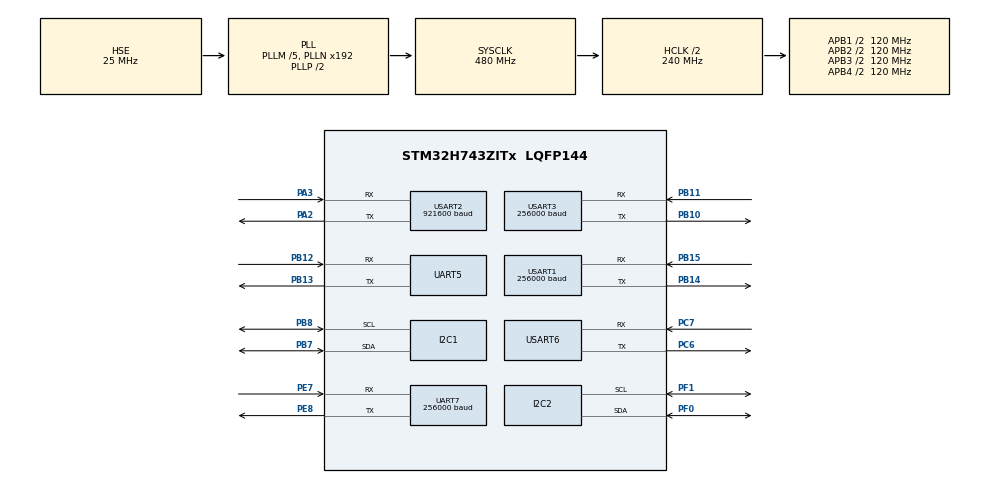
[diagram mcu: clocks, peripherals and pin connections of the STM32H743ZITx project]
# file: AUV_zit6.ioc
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CORTEX_M7.default_mode_Activation=1
Dma.Request0=USART2_RX
Dma.Request1=USART2_TX
Dma.Request2=USART3_TX
Dma.Request3=USART6_RX
Dma.Request4=USART6_TX
Dma.Request5=USART3_RX
Dma.Request6=UART5_RX
Dma.Request7=UART5_TX
Dma.Request8=UART7_RX
Dma.Request9=UART7_TX
Dma.UART5_RX.6.Direction=DMA_PERIPH_TO_MEMORY
Dma.UART5_RX.6.EventEnable=DISABLE
Dma.UART5_RX.6.FIFOMode=DMA_FIFOMODE_DISABLE
Dma.UART5_RX.6.Instance=DMA1_Stream2
Dma.UART5_RX.6.MemDataAlignment=DMA_MDATAALIGN_BYTE
Dma.UART5_RX.6.MemInc=DMA_MINC_ENABLE
Dma.UART5_RX.6.Mode=DMA_NORMAL
Dma.UART5_RX.6.PeriphDataAlignment=DMA_PDATAALIGN_BYTE
Dma.UART5_RX.6.PeriphInc=DMA_PINC_DISABLE
Dma.UART5_RX.6.Polarity=HAL_DMAMUX_REQ_GEN_RISING
Dma.UART5_RX.6.Priority=DMA_PRIORITY_LOW
Dma.UART5_RX.6.RequestNumber=1
Dma.UART5_RX.6.SignalID=NONE
Dma.UART5_RX.6.SyncEnable=DISABLE
Dma.UART5_RX.6.SyncPolarity=HAL_DMAMUX_SYNC_NO_EVENT
Dma.UART5_RX.6.SyncRequestNumber=1
Dma.UART5_RX.6.SyncSignalID=NONE
Dma.UART5_TX.7.Direction=DMA_MEMORY_TO_PERIPH
Dma.UART5_TX.7.EventEnable=DISABLE
Dma.UART5_TX.7.FIFOMode=DMA_FIFOMODE_DISABLE
Dma.UART5_TX.7.Instance=DMA1_Stream3
Dma.UART5_TX.7.MemDataAlignment=DMA_MDATAALIGN_BYTE
Dma.UART5_TX.7.MemInc=DMA_MINC_ENABLE
Dma.UART5_TX.7.Mode=DMA_NORMAL
Dma.UART5_TX.7.PeriphDataAlignment=DMA_PDATAALIGN_BYTE
Dma.UART5_TX.7.PeriphInc=DMA_PINC_DISABLE
Dma.UART5_TX.7.Polarity=HAL_DMAMUX_REQ_GEN_RISING
Dma.UART5_TX.7.Priority=DMA_PRIORITY_LOW
Dma.UART5_TX.7.RequestNumber=1
Dma.UART5_TX.7.SignalID=NONE
Dma.UART5_TX.7.SyncEnable=DISABLE
Dma.UART5_TX.7.SyncPolarity=HAL_DMAMUX_SYNC_NO_EVENT
Dma.UART5_TX.7.SyncRequestNumber=1
Dma.UART5_TX.7.SyncSignalID=NONE
Dma.UART7_RX.8.Direction=DMA_PERIPH_TO_MEMORY
Dma.UART7_RX.8.EventEnable=DISABLE
Dma.UART7_RX.8.FIFOMode=DMA_FIFOMODE_DISABLE
Dma.UART7_RX.8.Instance=DMA2_Stream0
Dma.UART7_RX.8.MemDataAlignment=DMA_MDATAALIGN_BYTE
Dma.UART7_RX.8.MemInc=DMA_MINC_ENABLE
Dma.UART7_RX.8.Mode=DMA_NORMAL
Dma.UART7_RX.8.PeriphDataAlignment=DMA_PDATAALIGN_BYTE
Dma.UART7_RX.8.PeriphInc=DMA_PINC_DISABLE
Dma.UART7_RX.8.Polarity=HAL_DMAMUX_REQ_GEN_RISING
Dma.UART7_RX.8.Priority=DMA_PRIORITY_HIGH
Dma.UART7_RX.8.RequestNumber=1
Dma.UART7_RX.8.SignalID=NONE
Dma.UART7_RX.8.SyncEnable=DISABLE
Dma.UART7_RX.8.SyncPolarity=HAL_DMAMUX_SYNC_NO_EVENT
Dma.UART7_RX.8.SyncRequestNumber=1
Dma.UART7_RX.8.SyncSignalID=NONE
Dma.UART7_TX.9.Direction=DMA_MEMORY_TO_PERIPH
Dma.UART7_TX.9.EventEnable=DISABLE
Dma.UART7_TX.9.FIFOMode=DMA_FIFOMODE_DISABLE
Dma.UART7_TX.9.Instance=DMA2_Stream1
Dma.UART7_TX.9.MemDataAlignment=DMA_MDATAALIGN_BYTE
Dma.UART7_TX.9.MemInc=DMA_MINC_ENABLE
Dma.UART7_TX.9.Mode=DMA_NORMAL
Dma.UART7_TX.9.PeriphDataAlignment=DMA_PDATAALIGN_BYTE
Dma.UART7_TX.9.PeriphInc=DMA_PINC_DISABLE
Dma.UART7_TX.9.Polarity=HAL_DMAMUX_REQ_GEN_RISING
Dma.UART7_TX.9.Priority=DMA_PRIORITY_HIGH
Dma.UART7_TX.9.RequestNumber=1
Dma.UART7_TX.9.SignalID=NONE
Dma.UART7_TX.9.SyncEnable=DISABLE
Dma.UART7_TX.9.SyncPolarity=HAL_DMAMUX_SYNC_NO_EVENT
Dma.UART7_TX.9.SyncRequestNumber=1
Dma.UART7_TX.9.SyncSignalID=NONE
Dma.USART2_RX.0.Direction=DMA_PERIPH_TO_MEMORY
Dma.USART2_RX.0.EventEnable=DISABLE
Dma.USART2_RX.0.FIFOMode=DMA_FIFOMODE_DISABLE
Dma.USART2_RX.0.Instance=DMA1_Stream0
Dma.USART2_RX.0.MemDataAlignment=DMA_MDATAALIGN_BYTE
Dma.USART2_RX.0.MemInc=DMA_MINC_ENABLE
Dma.USART2_RX.0.Mode=DMA_CIRCULAR
Dma.USART2_RX.0.PeriphDataAlignment=DMA_PDATAALIGN_BYTE
Dma.USART2_RX.0.PeriphInc=DMA_PINC_DISABLE
Dma.USART2_RX.0.Polarity=HAL_DMAMUX_REQ_GEN_RISING
Dma.USART2_RX.0.Priority=DMA_PRIORITY_VERY_HIGH
Dma.USART2_RX.0.RequestNumber=1
Dma.USART2_RX.0.SignalID=NONE
Dma.USART2_RX.0.SyncEnable=DISABLE
Dma.USART2_RX.0.SyncPolarity=HAL_DMAMUX_SYNC_NO_EVENT
Dma.USART2_RX.0.SyncRequestNumber=1
Dma.USART2_RX.0.SyncSignalID=NONE
Dma.USART2_TX.1.Direction=DMA_MEMORY_TO_PERIPH
Dma.USART2_TX.1.EventEnable=DISABLE
Dma.USART2_TX.1.FIFOMode=DMA_FIFOMODE_DISABLE
Dma.USART2_TX.1.Instance=DMA1_Stream1
Dma.USART2_TX.1.MemDataAlignment=DMA_MDATAALIGN_BYTE
Dma.USART2_TX.1.MemInc=DMA_MINC_ENABLE
Dma.USART2_TX.1.Mode=DMA_NORMAL
Dma.USART2_TX.1.PeriphDataAlignment=DMA_PDATAALIGN_BYTE
Dma.USART2_TX.1.PeriphInc=DMA_PINC_DISABLE
Dma.USART2_TX.1.Polarity=HAL_DMAMUX_REQ_GEN_RISING
Dma.USART2_TX.1.Priority=DMA_PRIORITY_VERY_HIGH
Dma.USART2_TX.1.RequestNumber=1
Dma.USART2_TX.1.SignalID=NONE
Dma.USART2_TX.1.SyncEnable=DISABLE
Dma.USART2_TX.1.SyncPolarity=HAL_DMAMUX_SYNC_NO_EVENT
Dma.USART2_TX.1.SyncRequestNumber=1
Dma.USART2_TX.1.SyncSignalID=NONE
Dma.USART3_RX.5.Direction=DMA_PERIPH_TO_MEMORY
Dma.USART3_RX.5.EventEnable=DISABLE
Dma.USART3_RX.5.FIFOMode=DMA_FIFOMODE_DISABLE
Dma.USART3_RX.5.Instance=DMA1_Stream4
Dma.USART3_RX.5.MemDataAlignment=DMA_MDATAALIGN_BYTE
Dma.USART3_RX.5.MemInc=DMA_MINC_ENABLE
Dma.USART3_RX.5.Mode=DMA_NORMAL
Dma.USART3_RX.5.PeriphDataAlignment=DMA_PDATAALIGN_BYTE
Dma.USART3_RX.5.PeriphInc=DMA_PINC_DISABLE
Dma.USART3_RX.5.Polarity=HAL_DMAMUX_REQ_GEN_RISING
Dma.USART3_RX.5.Priority=DMA_PRIORITY_HIGH
Dma.USART3_RX.5.RequestNumber=1
Dma.USART3_RX.5.SignalID=NONE
Dma.USART3_RX.5.SyncEnable=DISABLE
Dma.USART3_RX.5.SyncPolarity=HAL_DMAMUX_SYNC_NO_EVENT
Dma.USART3_RX.5.SyncRequestNumber=1
Dma.USART3_RX.5.SyncSignalID=NONE
Dma.USART3_TX.2.Direction=DMA_MEMORY_TO_PERIPH
Dma.USART3_TX.2.EventEnable=DISABLE
Dma.USART3_TX.2.FIFOMode=DMA_FIFOMODE_DISABLE
Dma.USART3_TX.2.Instance=DMA1_Stream5
Dma.USART3_TX.2.MemDataAlignment=DMA_MDATAALIGN_BYTE
Dma.USART3_TX.2.MemInc=DMA_MINC_ENABLE
Dma.USART3_TX.2.Mode=DMA_NORMAL
Dma.USART3_TX.2.PeriphDataAlignment=DMA_PDATAALIGN_BYTE
Dma.USART3_TX.2.PeriphInc=DMA_PINC_DISABLE
Dma.USART3_TX.2.Polarity=HAL_DMAMUX_REQ_GEN_RISING
Dma.USART3_TX.2.Priority=DMA_PRIORITY_HIGH
Dma.USART3_TX.2.RequestNumber=1
Dma.USART3_TX.2.SignalID=NONE
Dma.USART3_TX.2.SyncEnable=DISABLE
Dma.USART3_TX.2.SyncPolarity=HAL_DMAMUX_SYNC_NO_EVENT
Dma.USART3_TX.2.SyncRequestNumber=1
Dma.USART3_TX.2.SyncSignalID=NONE
Dma.USART6_RX.3.Direction=DMA_PERIPH_TO_MEMORY
Dma.USART6_RX.3.EventEnable=DISABLE
Dma.USART6_RX.3.FIFOMode=DMA_FIFOMODE_DISABLE
Dma.USART6_RX.3.Instance=DMA1_Stream7
Dma.USART6_RX.3.MemDataAlignment=DMA_MDATAALIGN_BYTE
Dma.USART6_RX.3.MemInc=DMA_MINC_ENABLE
Dma.USART6_RX.3.Mode=DMA_NORMAL
Dma.USART6_RX.3.PeriphDataAlignment=DMA_PDATAALIGN_BYTE
Dma.USART6_RX.3.PeriphInc=DMA_PINC_DISABLE
Dma.USART6_RX.3.Polarity=HAL_DMAMUX_REQ_GEN_RISING
Dma.USART6_RX.3.Priority=DMA_PRIORITY_VERY_HIGH
Dma.USART6_RX.3.RequestNumber=1
Dma.USART6_RX.3.SignalID=NONE
Dma.USART6_RX.3.SyncEnable=DISABLE
Dma.USART6_RX.3.SyncPolarity=HAL_DMAMUX_SYNC_NO_EVENT
Dma.USART6_RX.3.SyncRequestNumber=1
Dma.USART6_RX.3.SyncSignalID=NONE
Dma.USART6_TX.4.Direction=DMA_MEMORY_TO_PERIPH
Dma.USART6_TX.4.EventEnable=DISABLE
Dma.USART6_TX.4.FIFOMode=DMA_FIFOMODE_DISABLE
Dma.USART6_TX.4.Instance=DMA1_Stream6
Dma.USART6_TX.4.MemDataAlignment=DMA_MDATAALIGN_BYTE
Dma.USART6_TX.4.MemInc=DMA_MINC_ENABLE
Dma.USART6_TX.4.Mode=DMA_NORMAL
Dma.USART6_TX.4.PeriphDataAlignment=DMA_PDATAALIGN_BYTE
Dma.USART6_TX.4.PeriphInc=DMA_PINC_DISABLE
Dma.USART6_TX.4.Polarity=HAL_DMAMUX_REQ_GEN_RISING
Dma.USART6_TX.4.Priority=DMA_PRIORITY_VERY_HIGH
Dma.USART6_TX.4.RequestNumber=1
Dma.USART6_TX.4.SignalID=NONE
Dma.USART6_TX.4.SyncEnable=DISABLE
Dma.USART6_TX.4.SyncPolarity=HAL_DMAMUX_SYNC_NO_EVENT
Dma.USART6_TX.4.SyncRequestNumber=1
Dma.USART6_TX.4.SyncSignalID=NONE
FREERTOS.Queues01=imu_queue,16,uint32_t,0,Dynamic,NULL,NULL
FREERTOS.Tasks01=micro_ros_task,24,5000,Entry_MicroRosTask,Default,NULL,Dynamic,NULL,NULL;hardware_bridge,40,2048,Entry_ControlTask,Default,NULL,Dynamic,NULL,NULL;iic_task,8,1024,Entry_IICTask,Default,NULL,Dynamic,NULL,NULL
FREERTOS.configCHECK_FOR_STACK_OVERFLOW=2
FREERTOS.configMINIMAL_STACK_SIZE=256
FREERTOS.configTOTAL_HEAP_SIZE=80000
I2C1.Timing=0x307075B1
I2C2.Timing=0x307075B1
IWDG1.Reload=3000-1
IWDG1.Window=4096-1
Mcu.Family=STM32H7
Mcu.Name=STM32H743ZITx
Mcu.Package=LQFP144
NVIC.DMA1_Stream0_IRQn=true\:5\:0\:false\:false\:true\:true\:false\:true\:true
NVIC.DMA1_Stream1_IRQn=true\:5\:0\:true\:false\:true\:true\:false\:true\:true
NVIC.DMA1_Stream2_IRQn=true\:5\:0\:false\:false\:true\:true\:false\:true\:true
NVIC.DMA1_Stream3_IRQn=true\:5\:0\:false\:false\:true\:true\:false\:true\:true
NVIC.DMA1_Stream4_IRQn=true\:5\:0\:false\:false\:true\:true\:false\:true\:true
NVIC.DMA1_Stream5_IRQn=true\:5\:0\:false\:false\:true\:true\:false\:true\:true
NVIC.DMA1_Stream6_IRQn=true\:5\:0\:false\:false\:true\:true\:false\:true\:true
NVIC.DMA1_Stream7_IRQn=true\:5\:0\:false\:false\:true\:true\:false\:true\:true
NVIC.DMA2_Stream0_IRQn=true\:5\:0\:false\:false\:true\:false\:false\:true\:true
NVIC.DMA2_Stream1_IRQn=true\:5\:0\:false\:false\:true\:false\:false\:true\:true
NVIC.PriorityGroup=NVIC_PRIORITYGROUP_4
NVIC.TIM6_DAC_IRQn=true\:0\:0\:true\:false\:true\:false\:false\:true\:true
NVIC.TimeBase=TIM6_DAC_IRQn
NVIC.TimeBaseIP=TIM6
NVIC.UART5_IRQn=true\:5\:0\:false\:false\:true\:true\:true\:true\:true
NVIC.UART7_IRQn=true\:5\:0\:false\:false\:true\:true\:true\:true\:true
NVIC.USART2_IRQn=true\:5\:0\:false\:false\:true\:true\:true\:true\:true
NVIC.USART3_IRQn=true\:5\:0\:false\:false\:true\:true\:true\:true\:true
NVIC.USART6_IRQn=true\:5\:0\:false\:false\:true\:true\:true\:true\:true
PA13\ (JTMS/SWDIO).Mode=Serial_Wire
PA13\ (JTMS/SWDIO).Signal=DEBUG_JTMS-SWDIO
PA14\ (JTCK/SWCLK).Mode=Serial_Wire
PA14\ (JTCK/SWCLK).Signal=DEBUG_JTCK-SWCLK
PA2.GPIO_PuPd=GPIO_PULLUP
PA2.Mode=Asynchronous
PA2.Signal=USART2_TX
PA3.GPIO_PuPd=GPIO_PULLUP
PA3.Mode=Asynchronous
PA3.Signal=USART2_RX
PB10.GPIO_PuPd=GPIO_PULLUP
PB10.Mode=Asynchronous
PB10.Signal=USART3_TX
PB11.GPIO_PuPd=GPIO_PULLUP
PB11.Mode=Asynchronous
PB11.Signal=USART3_RX
PB12.Mode=Asynchronous
PB12.Signal=UART5_RX
PB13.Mode=Asynchronous
PB13.Signal=UART5_TX
PB14.GPIO_PuPd=GPIO_PULLUP
PB14.Mode=Asynchronous
PB14.Signal=USART1_TX
PB15.GPIO_PuPd=GPIO_PULLUP
PB15.Mode=Asynchronous
PB15.Signal=USART1_RX
PB7.Mode=I2C
PB7.Signal=I2C1_SDA
PB8.Mode=I2C
PB8.Signal=I2C1_SCL
PC14-OSC32_IN\ (OSC32_IN).Mode=LSE-External-Oscillator
PC14-OSC32_IN\ (OSC32_IN).Signal=RCC_OSC32_IN
PC15-OSC32_OUT\ (OSC32_OUT).Mode=LSE-External-Oscillator
PC15-OSC32_OUT\ (OSC32_OUT).Signal=RCC_OSC32_OUT
PC6.Mode=Asynchronous
PC6.Signal=USART6_TX
PC7.Mode=Asynchronous
PC7.Signal=USART6_RX
PE7.Mode=Asynchronous
PE7.Signal=UART7_RX
PE8.Mode=Asynchronous
PE8.Signal=UART7_TX
PF0.Mode=I2C
PF0.Signal=I2C2_SDA
PF1.Mode=I2C
PF1.Signal=I2C2_SCL
PH0-OSC_IN\ (PH0).Mode=HSE-External-Oscillator
PH0-OSC_IN\ (PH0).Signal=RCC_OSC_IN
PH1-OSC_OUT\ (PH1).Mode=HSE-External-Oscillator
PH1-OSC_OUT\ (PH1).Signal=RCC_OSC_OUT
ProjectManager.HeapSize=0x1000
ProjectManager.StackSize=0x2000
ProjectManager.TargetToolchain=CMake
RCC.ADCFreq_Value=50390625
RCC.APB1Freq_Value=120000000
RCC.APB2Freq_Value=120000000
RCC.APB3Freq_Value=120000000
RCC.APB4Freq_Value=120000000
RCC.CortexFreq_Value=480000000
RCC.D1PPRE=RCC_APB3_DIV2
RCC.D2PPRE1=RCC_APB1_DIV2
RCC.D2PPRE2=RCC_APB2_DIV2
RCC.D3PPRE=RCC_APB4_DIV2
RCC.DIVM1=5
RCC.DIVN1=192
RCC.HCLKFreq_Value=240000000
RCC.HPRE=RCC_HCLK_DIV2
RCC.PLL2FRACN=0
RCC.PLL3FRACN=0
RCC.PLLFRACN=0
RCC.PLLSourceVirtual=RCC_PLLSOURCE_HSE
RCC.SYSCLKFreq_VALUE=480000000
RCC.SYSCLKSource=RCC_SYSCLKSOURCE_PLLCLK
RCC.USBFreq_Value=480000000
UART7.BaudRate=256000
USART1.BaudRate=256000
USART1.StopBits=STOPBITS_1
USART1.VirtualMode-Asynchronous=VM_ASYNC
USART2.BaudRate=921600
USART2.VirtualMode-Asynchronous=VM_ASYNC
USART3.BaudRate=256000
USART3.VirtualMode-Asynchronous=VM_ASYNC
USART6.VirtualMode-Asynchronous=VM_ASYNC
VP_FREERTOS_VS_CMSIS_V2.Mode=CMSIS_V2
VP_IWDG1_VS_IWDG.Mode=IWDG_Activate
VP_MEMORYMAP_VS_MEMORYMAP.Mode=CurAppReg
VP_SYS_VS_tim6.Mode=TIM6
board=custom

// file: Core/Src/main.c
/* USER CODE BEGIN Header */
/**
 ******************************************************************************
 * @file           : main.c
 * @brief          : Main program body
 ******************************************************************************
 * @attention
 *
 * Copyright (c) 2026 STMicroelectronics.
 * All rights reserved.
 *
 * This software is licensed under terms that can be found in the LICENSE file
 * in the root directory of this software component.
 * If no LICENSE file comes with this software, it is provided AS-IS.
 *
 ******************************************************************************
 */
/* USER CODE END Header */
#include "main.h"
#include "FreeRTOS.h"
#include "cmsis_os2.h"
#include "dma.h"
#include "i2c.h"
#include "iwdg.h"
#include "usart.h"
#include "gpio.h"

void SystemClock_Config(void);
static void MPU_Config(void);
void MX_FREERTOS_Init(void);
/* USER CODE BEGIN PFP */
extern void Entry_MicroRosTask(void *argument);
extern void Entry_ControlTask(void *argument);
/* USER CODE END PFP */

int main(void)
{

  /* MPU Configuration--------------------------------------------------------*/
  MPU_Config();

  /* MCU Configuration--------------------------------------------------------*/

  /* Reset of all peripherals, Initializes the Flash interface and the Systick. */
  HAL_Init();

  /* Configure the system clock */
  SystemClock_Config();

  /* USER CODE BEGIN SysInit */
  __HAL_RCC_D2SRAM1_CLK_ENABLE();
  __HAL_RCC_D2SRAM2_CLK_ENABLE();
  __HAL_RCC_D2SRAM3_CLK_ENABLE();
  /* USER CODE END SysInit */

  /* Initialize all configured peripherals */
  MX_GPIO_Init();
  MX_DMA_Init();
  MX_I2C1_Init();
  MX_USART2_UART_Init();
  MX_I2C2_Init();
  MX_USART1_UART_Init();
  MX_USART3_UART_Init();
  MX_USART6_UART_Init();
  MX_IWDG1_Init();
  MX_UART5_Init();
  MX_UART7_Init();

  /* Init scheduler */
  osKernelInitialize();  /* Call init function for freertos objects (in cmsis_os2.c) */
  MX_FREERTOS_Init();

  /* Start scheduler */
  osKernelStart();

  /* We should never get here as control is now taken by the scheduler */

  /* Infinite loop */
  while (1) {

  }
}

void SystemClock_Config(void)
{
  RCC_OscInitTypeDef RCC_OscInitStruct = {0};
  RCC_ClkInitTypeDef RCC_ClkInitStruct = {0};

  /** Supply configuration update enable
  */
  HAL_PWREx_ConfigSupply(PWR_LDO_SUPPLY);

  /** Configure the main internal regulator output voltage
  */
  __HAL_PWR_VOLTAGESCALING_CONFIG(PWR_REGULATOR_VOLTAGE_SCALE0);

  while(!__HAL_PWR_GET_FLAG(PWR_FLAG_VOSRDY)) {}

  /** Initializes the RCC Oscillators according to the specified parameters
  * in the RCC_OscInitTypeDef structure.
  */
  RCC_OscInitStruct.OscillatorType = RCC_OSCILLATORTYPE_LSI|RCC_OSCILLATORTYPE_HSE;
  RCC_OscInitStruct.HSEState = RCC_HSE_ON;
  RCC_OscInitStruct.LSIState = RCC_LSI_ON;
  RCC_OscInitStruct.PLL.PLLState = RCC_PLL_ON;
  RCC_OscInitStruct.PLL.PLLSource = RCC_PLLSOURCE_HSE;
  RCC_OscInitStruct.PLL.PLLM = 5;
  RCC_OscInitStruct.PLL.PLLN = 192;
  RCC_OscInitStruct.PLL.PLLP = 2;
  RCC_OscInitStruct.PLL.PLLQ = 2;
  RCC_OscInitStruct.PLL.PLLR = 2;
  RCC_OscInitStruct.PLL.PLLRGE = RCC_PLL1VCIRANGE_2;
  RCC_OscInitStruct.PLL.PLLVCOSEL = RCC_PLL1VCOWIDE;
  RCC_OscInitStruct.PLL.PLLFRACN = 0;
  if (HAL_RCC_OscConfig(&RCC_OscInitStruct) != HAL_OK)
  {
    Error_Handler();
  }

  /** Initializes the CPU, AHB and APB buses clocks
  */
  RCC_ClkInitStruct.ClockType = RCC_CLOCKTYPE_HCLK|RCC_CLOCKTYPE_SYSCLK
                              |RCC_CLOCKTYPE_PCLK1|RCC_CLOCKTYPE_PCLK2
                              |RCC_CLOCKTYPE_D3PCLK1|RCC_CLOCKTYPE_D1PCLK1;
  RCC_ClkInitStruct.SYSCLKSource = RCC_SYSCLKSOURCE_PLLCLK;
  RCC_ClkInitStruct.SYSCLKDivider = RCC_SYSCLK_DIV1;
  RCC_ClkInitStruct.AHBCLKDivider = RCC_HCLK_DIV2;
  RCC_ClkInitStruct.APB3CLKDivider = RCC_APB3_DIV2;
  RCC_ClkInitStruct.APB1CLKDivider = RCC_APB1_DIV2;
  RCC_ClkInitStruct.APB2CLKDivider = RCC_APB2_DIV2;
  RCC_ClkInitStruct.APB4CLKDivider = RCC_APB4_DIV2;

  if (HAL_RCC_ClockConfig(&RCC_ClkInitStruct, FLASH_LATENCY_4) != HAL_OK)
  {
    Error_Handler();
  }
}

 /* MPU Configuration */

void MPU_Config(void)
{
  MPU_Region_InitTypeDef MPU_InitStruct = {0};

  /* Disables the MPU */
  HAL_MPU_Disable();

  /**
   * Configure RAM_D2 (SRAM1/2/3) as Non-cacheable for DMA.
   * Address: 0x30000000, Size: 512KB (covers the 288KB D2 SRAM)
   */
  MPU_InitStruct.Enable = MPU_REGION_ENABLE;
  MPU_InitStruct.Number = MPU_REGION_NUMBER0;
  MPU_InitStruct.BaseAddress = 0x30000000;
  MPU_InitStruct.Size = MPU_REGION_SIZE_512KB;
  MPU_InitStruct.SubRegionDisable = 0x0;
  MPU_InitStruct.TypeExtField = MPU_TEX_LEVEL1;
  MPU_InitStruct.AccessPermission = MPU_REGION_FULL_ACCESS;
  MPU_InitStruct.DisableExec = MPU_INSTRUCTION_ACCESS_DISABLE;
  MPU_InitStruct.IsShareable = MPU_ACCESS_NOT_SHAREABLE;
  MPU_InitStruct.IsCacheable = MPU_ACCESS_NOT_CACHEABLE;
  MPU_InitStruct.IsBufferable = MPU_ACCESS_NOT_BUFFERABLE;
  HAL_MPU_ConfigRegion(&MPU_InitStruct);

  /**
   * Configure AXI SRAM as Normal Non-cacheable
   * Address: 0x24000000, Size: 512KB
   */
  MPU_InitStruct.Number = MPU_REGION_NUMBER1;
  MPU_InitStruct.BaseAddress = 0x24000000;
  MPU_InitStruct.Size = MPU_REGION_SIZE_512KB;
  HAL_MPU_ConfigRegion(&MPU_InitStruct);

  /* Enables the MPU with background map allowed (Flash/DTCM remain cacheable) */
  HAL_MPU_Enable(MPU_PRIVILEGED_DEFAULT);
}

void HAL_TIM_PeriodElapsedCallback(TIM_HandleTypeDef *htim)
{
  if (htim->Instance == TIM6)
  {
    HAL_IncTick();
  }
}

void Error_Handler(void)
{
  __disable_irq();
  while (1) {
  }
}
#ifdef USE_FULL_ASSERT
/**
  * @brief  Reports the name of the source file and the source line number
  *         where the assert_param error has occurred.
  * @param  file: pointer to the source file name
  * @param  line: assert_param error line source number
  * @retval None
  */
void assert_failed(uint8_t *file, uint32_t line)
{
  /* USER CODE BEGIN 6 */
  /* User can add his own implementation to report the file name and line
     number, ex: printf("Wrong parameters value: file %s on line %d\r\n", file,
     line) */
  /* USER CODE END 6 */
}
#endif /* USE_FULL_ASSERT */

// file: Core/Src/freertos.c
/* USER CODE BEGIN Header */
/**
 ******************************************************************************
 * File Name          : freertos.c
 * Description        : Code for freertos applications
 ******************************************************************************
 * @attention
 *
 * Copyright (c) 2026 STMicroelectronics.
 * All rights reserved.
 *
 * This software is licensed under terms that can be found in the LICENSE file
 * in the root directory of this software component.
 * If no LICENSE file comes with this software, it is provided AS-IS.
 *
 ******************************************************************************
 */
/* USER CODE END Header */

#include "FreeRTOS.h"
#include "task.h"
#include "main.h"
#include "FreeRTOS.h"
#include "cmsis_os2.h"

/* USER CODE BEGIN Includes */
#include "usart.h"
#include <rcl/error_handling.h>
#include <rcl/rcl.h>
#include <rclc/executor.h>
#include <rmw_microros/rmw_microros.h>
#include <std_msgs/msg/int32.h>
#include <uxr/client/transport.h>
#include "AppMain.hpp"

/* USER CODE END Includes */

/* USER CODE BEGIN Variables */
rcl_publisher_t publisher;
std_msgs__msg__Int32 msg;
/* USER CODE END Variables */
/* Definitions for micro_ros_task */
osThreadId_t micro_ros_taskHandle;
const osThreadAttr_t micro_ros_task_attributes = {
  .name = "micro_ros_task",
  .stack_size = 5000 * 4,
  .priority = (osPriority_t) osPriorityNormal,
};
/* Definitions for hardware_bridge */
osThreadId_t hardware_bridgeHandle;
const osThreadAttr_t hardware_bridge_attributes = {
  .name = "hardware_bridge",
  .stack_size = 2048 * 4,
  .priority = (osPriority_t) osPriorityHigh,
};
/* Definitions for iic_task */
osThreadId_t iic_taskHandle;
const osThreadAttr_t iic_task_attributes = {
  .name = "iic_task",
  .stack_size = 1024 * 4,
  .priority = (osPriority_t) osPriorityLow,
};
/* Definitions for imu_queue */
osMessageQueueId_t imu_queueHandle;
const osMessageQueueAttr_t imu_queue_attributes = {
  .name = "imu_queue"
};

/* USER CODE BEGIN FunctionPrototypes */
bool cubemx_transport_open(struct uxrCustomTransport *transport);
bool cubemx_transport_close(struct uxrCustomTransport *transport);
size_t cubemx_transport_write(struct uxrCustomTransport *transport,
                              const uint8_t *buf, size_t len, uint8_t *err);
size_t cubemx_transport_read(struct uxrCustomTransport *transport, uint8_t *buf,
                             size_t len, int timeout, uint8_t *err);

void *microros_allocate(size_t size, void *state);
void microros_deallocate(void *pointer, void *state);
void *microros_reallocate(void *pointer, size_t size, void *state);
void *microros_zero_allocate(size_t number_of_elements, size_t size_of_element,
                             void *state);
/* USER CODE END FunctionPrototypes */

void Entry_MicroRosTask(void *argument);
void Entry_ControlTask(void *argument);
void Entry_IICTask(void *argument);

void MX_FREERTOS_Init(void); /* (MISRA C 2004 rule 8.1) */

/* Hook prototypes */
void vApplicationStackOverflowHook(xTaskHandle xTask, char *pcTaskName);

/* USER CODE BEGIN 4 */
void vApplicationStackOverflowHook(xTaskHandle xTask, char *pcTaskName) {
  /* Run time stack overflow checking is performed if
  configCHECK_FOR_STACK_OVERFLOW is defined to 1 or 2. This hook function is
  called if a stack overflow is detected. */
}
/* USER CODE END 4 */

void MX_FREERTOS_Init(void) {

  /* Create the queue(s) */
  /* creation of imu_queue */
  imu_queueHandle = osMessageQueueNew (16, sizeof(uint32_t), &imu_queue_attributes);

  /* Create the thread(s) */
  /* creation of micro_ros_task */
  micro_ros_taskHandle = osThreadNew(Entry_MicroRosTask, NULL, &micro_ros_task_attributes);

  /* creation of hardware_bridge */
  hardware_bridgeHandle = osThreadNew(Entry_ControlTask, NULL, &hardware_bridge_attributes);

  /* creation of iic_task */
  iic_taskHandle = osThreadNew(Entry_IICTask, NULL, &iic_task_attributes);

}

void Entry_MicroRosTask(void *argument)
{
  /* USER CODE BEGIN Entry_MicroRosTask */
  UserApp_MicroRosTask(argument);
  /* USER CODE END Entry_MicroRosTask */
}

void Entry_ControlTask(void *argument)
{
  /* USER CODE BEGIN Entry_ControlTask */
  UserApp_ControlTask(argument);
  /* USER CODE END Entry_ControlTask */
}

void Entry_IICTask(void *argument)
{
  /* USER CODE BEGIN Entry_IICTask */
  UserApp_IICTask(argument);
  /* USER CODE END Entry_IICTask */
}
